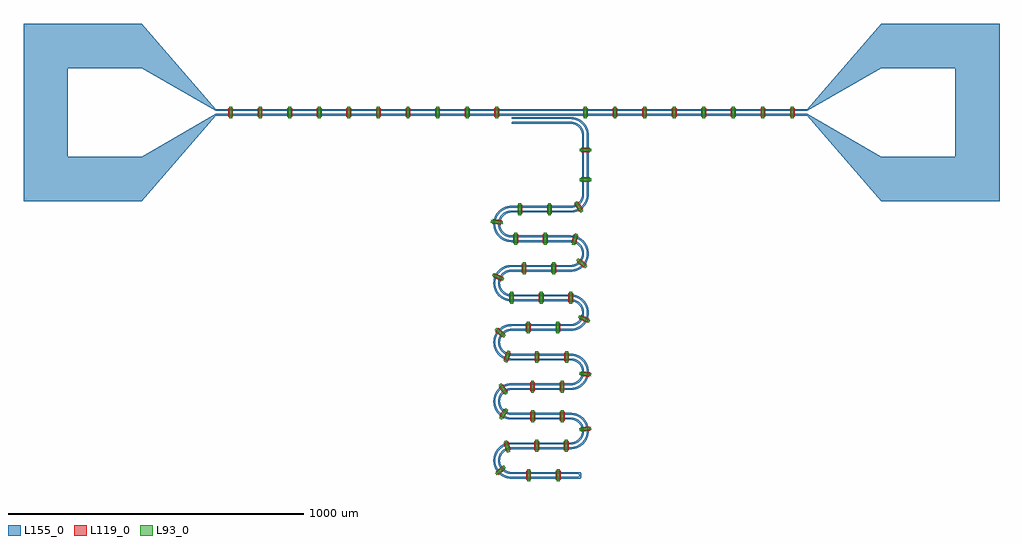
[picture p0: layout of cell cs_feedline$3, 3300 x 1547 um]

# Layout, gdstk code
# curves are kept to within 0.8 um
from math import pi, radians
import gdstk
lib = gdstk.Library(unit=1e-6, precision=1e-09)
def R(c, l, rs):  # rectangles x0, y0, x1, y1
    for r in rs: c.add(gdstk.rectangle(r[:2], r[2:], *l))
def P(c, l, *ps):  # polygons
    for p in ps: c.add(gdstk.Polygon(p, *l))
L93_0 = (93, 0)
L119_0 = (119, 0)
L155_0 = (155, 0)

bridge = lib.new_cell('bridge')
R(bridge, L93_0, [(-5,-20,5,20)])
R(bridge, L119_0, [(-8,-15,8,15)])

overlay_10 = lib.new_cell('overlay$10')
overlay_10.add(gdstk.Reference(bridge, (2450,0)))
overlay_10.add(gdstk.Reference(bridge, (2350,0)))
overlay_10.add(gdstk.Reference(bridge, (2250,0)))
overlay_10.add(gdstk.Reference(bridge, (2150,0)))
overlay_10.add(gdstk.Reference(bridge, (2050,0)))
overlay_10.add(gdstk.Reference(bridge, (1950,0)))
overlay_10.add(gdstk.Reference(bridge, (1850,0)))
overlay_10.add(gdstk.Reference(bridge, (1750,0)))

overlay_11 = lib.new_cell('overlay$11')
overlay_11.add(gdstk.Reference(bridge, (157.743,-1200)))
overlay_11.add(gdstk.Reference(bridge, (57.743,-1200)))
overlay_11.add(gdstk.Reference(bridge, (-37.403,-1183.182), rotation=radians(311.5776)))
overlay_11.add(gdstk.Reference(bridge, (-14.607,-1102.181), rotation=radians(196.986)))
overlay_11.add(gdstk.Reference(bridge, (85.177,-1100), rotation=pi))
overlay_11.add(gdstk.Reference(bridge, (185.177,-1100), rotation=pi))
overlay_11.add(gdstk.Reference(bridge, (249.56,-1043.382), rotation=radians(277.6055)))
overlay_11.add(gdstk.Reference(bridge, (171.903,-1000)))
overlay_11.add(gdstk.Reference(bridge, (71.903,-1000)))
overlay_11.add(gdstk.Reference(bridge, (-26.642,-992.311), rotation=radians(327.8029)))
overlay_11.add(gdstk.Reference(bridge, (-27.386,-908.167), rotation=radians(213.2114)))
overlay_11.add(gdstk.Reference(bridge, (71.018,-900), rotation=pi))
overlay_11.add(gdstk.Reference(bridge, (171.018,-900), rotation=pi))
overlay_11.add(gdstk.Reference(bridge, (249.435,-857.494), rotation=radians(261.3802)))
overlay_11.add(gdstk.Reference(bridge, (186.062,-800)))
overlay_11.add(gdstk.Reference(bridge, (86.062,-800)))
overlay_11.add(gdstk.Reference(bridge, (-13.758,-798.07), rotation=radians(344.0283)))
overlay_11.add(gdstk.Reference(bridge, (-37.984,-717.486), rotation=radians(229.4367)))
overlay_11.add(gdstk.Reference(bridge, (56.858,-700), rotation=pi))
overlay_11.add(gdstk.Reference(bridge, (156.858,-700), rotation=pi))
overlay_11.add(gdstk.Reference(bridge, (245.372,-671.008), rotation=radians(245.1549)))
overlay_11.add(gdstk.Reference(bridge, (200.221,-600), rotation=radians(359.7464)))
overlay_11.add(gdstk.Reference(bridge, (100.221,-600)))
overlay_11.add(gdstk.Reference(bridge, (0.221,-600)))
overlay_11.add(gdstk.Reference(bridge, (-45.557,-529.394), rotation=radians(245.662)))
overlay_11.add(gdstk.Reference(bridge, (42.699,-500), rotation=pi))
overlay_11.add(gdstk.Reference(bridge, (142.699,-500), rotation=pi))
overlay_11.add(gdstk.Reference(bridge, (237.695,-482.849), rotation=radians(228.9295)))
overlay_11.add(gdstk.Reference(bridge, (214.183,-402.054), rotation=radians(343.5211)))
overlay_11.add(gdstk.Reference(bridge, (114.381,-400)))
overlay_11.add(gdstk.Reference(bridge, (14.381,-400)))
overlay_11.add(gdstk.Reference(bridge, (-49.5,-342.944), rotation=radians(261.8873)))
overlay_11.add(gdstk.Reference(bridge, (28.54,-300), rotation=pi))
overlay_11.add(gdstk.Reference(bridge, (128.54,-300), rotation=pi))
overlay_11.add(gdstk.Reference(bridge, (227.015,-292.074), rotation=radians(212.7042)))
overlay_11.add(gdstk.Reference(bridge, (250,-200), rotation=3*pi/2))
overlay_11.add(gdstk.Reference(bridge, (250,-100), rotation=3*pi/2))

cs_resonator_2 = lib.new_cell('cs_resonator$2')
R(cs_resonator_2, L155_0, [(0,-1211,224.204,-1205), (0,-1195,224.204,-1189), (0,-1111,200,-1105), (0,-1095,200,-1089), (0,-1011,200,-1005), (0,-995,200,-989), (0,-911,200,-905), (0,-895,200,-889), (0,-811,200,-805), (0,-795,200,-789), (0,-711,200,-705), (0,-695,200,-689), (0,-611,200,-605), (0,-595,200,-589), (0,-511,200,-505), (0,-495,200,-489), (0,-411,200,-405), (0,-395,200,-389), (0,-311,200,-305), (0,-295,200,-289), (239,-250,245,-50), (255,-250,261,-50), (3,-11,200,-5), (3,5,200,11)])
P(cs_resonator_2, L155_0, [(0,8),(0.252,6.796),(0.856,5.902),(1.879,5.217),(3,5),(3,11),(1.796,10.748),(0.902,10.144),(0.217,9.121)],
  [(0,-8),(0.252,-9.204),(0.856,-10.098),(1.879,-10.783),(3,-11),(3,-5),(1.796,-5.252),(0.902,-5.856),(0.217,-6.879)],
  [(200,-11),(207.22,-11.674),(213.668,-13.473),(219.713,-16.349),(225.602,-20.58),(231.285,-26.714),(235.53,-33.919),(238.142,-41.863),(239,-50),(245,-50),(243.98,-40.473),(240.966,-31.377),(236.094,-23.126),(229.586,-16.094),(219.606,-9.495),(207.649,-5.655),(200,-5)],
  [(200,5),(210.547,3.979),(220.087,1.201),(228.972,-3.249),(236.91,-9.225),(244.439,-17.593),(250.376,-27.926),(253.815,-38.644),(255,-50),(261,-50),(259.709,-37.515),(255.889,-25.558),(249.295,-14.069),(240.897,-4.74),(228.323,4.026),(213.961,9.381),(200,11)],
  [(239,-250),(238.326,-257.22),(236.527,-263.668),(233.651,-269.713),(229.42,-275.602),(223.286,-281.285),(216.081,-285.53),(208.137,-288.142),(200,-289),(200,-295),(209.527,-293.98),(218.623,-290.966),(226.874,-286.094),(233.906,-279.586),(240.505,-269.606),(244.345,-257.649),(245,-250)],
  [(255,-250),(253.979,-260.547),(251.201,-270.087),(246.751,-278.972),(240.775,-286.91),(232.407,-294.439),(222.074,-300.376),(211.356,-303.815),(200,-305),(200,-311),(212.485,-309.709),(224.442,-305.889),(235.931,-299.295),(245.26,-290.897),(254.026,-278.323),(259.381,-263.961),(261,-250)],
  [(0,-289),(-11.801,-290.152),(-23.156,-293.566),(-34.216,-299.5),(-43.34,-307.073),(-50.825,-316.269),(-56.391,-326.738),(-59.825,-338.087),(-61,-349.886),(-59.87,-361.688),(-56.21,-373.695),(-50.564,-384.122),(-43.008,-393.259),(-33.827,-400.762),(-23.367,-406.347),(-12.025,-409.803),(0,-411),(0,-405),(-11.198,-403.848),(-22.533,-400.172),(-32.276,-394.534),(-40.667,-387.03),(-46.666,-379.109),(-51.382,-369.619),(-54.073,-360.055),(-55,-350.162),(-54.131,-340.263),(-51.496,-330.683),(-46.836,-321.166),(-40.884,-313.21),(-32.537,-305.656),(-22.222,-299.689),(-11.514,-296.219),(0,-295)],
  [(0,-305),(-8.94,-305.897),(-16.97,-308.322),(-24.911,-312.524),(-31.86,-318.221),(-37.539,-325.184),(-41.721,-333.136),(-44.126,-341.172),(-45,-350.114),(-44.197,-358.463),(-41.635,-367.075),(-37.412,-375.006),(-31.698,-381.941),(-25.22,-387.269),(-17.313,-391.536),(-8.716,-394.148),(0,-395),(0,-389),(-8.314,-388.103),(-16.246,-385.455),(-23.431,-381.177),(-29.539,-375.465),(-33.459,-370.038),(-36.59,-363.498),(-38.456,-356.491),(-39,-349.818),(-38.394,-343.151),(-36.463,-336.162),(-33.559,-330.13),(-29.301,-324.261),(-23.14,-318.607),(-15.915,-314.395),(-7.959,-311.821),(0,-311)],
  [(200,-411),(207.768,-411.781),(215.224,-414.094),(221.608,-417.533),(227.641,-422.487),(232.257,-428.079),(235.976,-434.943),(238.254,-442.41),(239,-450.182),(238.394,-456.849),(236.463,-463.838),(233.559,-469.87),(229.301,-475.739),(223.14,-481.393),(215.915,-485.605),(207.959,-488.179),(200,-489),(200,-495),(208.94,-494.103),(216.97,-491.678),(224.911,-487.476),(231.86,-481.779),(237.539,-474.816),(241.721,-466.864),(244.126,-458.828),(245,-449.886),(243.956,-440.361),(240.918,-431.273),(236.026,-423.035),(229.5,-416.019),(218.96,-409.189),(207.536,-405.636),(200,-405)],
  [(200,-395),(210.547,-396.021),(220.703,-399.045),(230.091,-403.961),(238.834,-411.052),(245.95,-419.774),(250.894,-429.147),(253.948,-439.294),(255,-449.838),(254.131,-459.737),(251.496,-469.317),(246.836,-478.834),(240.884,-486.79),(232.537,-494.344),(222.222,-500.311),(211.514,-503.781),(200,-505),(200,-511),(211.801,-509.848),(223.156,-506.434),(234.216,-500.5),(243.34,-492.927),(250.825,-483.731),(256.391,-473.262),(259.825,-461.913),(261,-450.114),(259.732,-437.627),(255.935,-425.663),(249.769,-414.729),(240.982,-404.817),(228.424,-396.027),(214.072,-390.645),(200,-389)],
  [(0,-489),(-11.801,-490.152),(-23.156,-493.566),(-34.216,-499.5),(-43.34,-507.073),(-50.825,-516.269),(-56.391,-526.738),(-59.825,-538.087),(-61,-549.886),(-59.87,-561.688),(-56.21,-573.695),(-50.564,-584.122),(-43.008,-593.259),(-33.827,-600.762),(-23.367,-606.347),(-12.025,-609.803),(0,-611),(0,-605),(-11.198,-603.848),(-22.533,-600.172),(-32.276,-594.534),(-40.667,-587.03),(-46.666,-579.109),(-51.382,-569.619),(-54.073,-560.055),(-55,-550.162),(-54.131,-540.263),(-51.496,-530.683),(-46.836,-521.166),(-40.884,-513.21),(-32.537,-505.656),(-22.222,-499.689),(-11.514,-496.219),(0,-495)],
  [(0,-505),(-8.94,-505.897),(-16.97,-508.322),(-24.911,-512.524),(-31.86,-518.221),(-37.539,-525.184),(-41.721,-533.136),(-44.126,-541.172),(-45,-550.114),(-44.197,-558.463),(-41.635,-567.075),(-37.412,-575.006),(-31.698,-581.941),(-25.22,-587.269),(-17.313,-591.536),(-8.716,-594.148),(0,-595),(0,-589),(-8.314,-588.103),(-16.246,-585.455),(-23.431,-581.177),(-29.539,-575.465),(-33.459,-570.038),(-36.59,-563.498),(-38.456,-556.491),(-39,-549.818),(-38.394,-543.151),(-36.463,-536.162),(-33.559,-530.13),(-29.301,-524.261),(-23.14,-518.607),(-15.915,-514.395),(-7.959,-511.821),(0,-511)],
  [(200,-611),(207.768,-611.781),(215.224,-614.094),(221.608,-617.533),(227.641,-622.487),(232.257,-628.079),(235.976,-634.943),(238.254,-642.41),(239,-650.182),(238.394,-656.849),(236.463,-663.838),(233.559,-669.87),(229.301,-675.739),(223.14,-681.393),(215.915,-685.605),(207.959,-688.179),(200,-689),(200,-695),(208.94,-694.103),(216.97,-691.678),(224.911,-687.476),(231.86,-681.779),(237.539,-674.816),(241.721,-666.864),(244.126,-658.828),(245,-649.886),(243.956,-640.361),(240.918,-631.273),(236.026,-623.035),(229.5,-616.019),(218.96,-609.189),(207.536,-605.636),(200,-605)],
  [(200,-595),(210.547,-596.021),(220.703,-599.045),(230.091,-603.961),(238.834,-611.052),(245.95,-619.774),(250.894,-629.147),(253.948,-639.294),(255,-649.838),(254.131,-659.737),(251.496,-669.317),(246.836,-678.834),(240.884,-686.79),(232.537,-694.344),(222.222,-700.311),(211.514,-703.781),(200,-705),(200,-711),(211.801,-709.848),(223.156,-706.434),(234.216,-700.5),(243.34,-692.927),(250.825,-683.731),(256.391,-673.262),(259.825,-661.913),(261,-650.114),(259.732,-637.627),(255.935,-625.663),(249.769,-614.729),(240.982,-604.817),(228.424,-596.027),(214.072,-590.645),(200,-589)],
  [(0,-689),(-11.801,-690.152),(-23.156,-693.566),(-34.216,-699.5),(-43.34,-707.073),(-50.825,-716.269),(-56.391,-726.738),(-59.825,-738.087),(-61,-749.886),(-59.87,-761.688),(-56.21,-773.695),(-50.564,-784.122),(-43.008,-793.259),(-33.827,-800.762),(-23.367,-806.347),(-12.025,-809.803),(0,-811),(0,-805),(-11.198,-803.848),(-22.533,-800.172),(-32.276,-794.534),(-40.667,-787.03),(-46.666,-779.109),(-51.382,-769.619),(-54.073,-760.055),(-55,-750.162),(-54.131,-740.263),(-51.496,-730.683),(-46.836,-721.166),(-40.884,-713.21),(-32.537,-705.656),(-22.222,-699.689),(-11.514,-696.219),(0,-695)],
  [(0,-705),(-8.94,-705.897),(-16.97,-708.322),(-24.911,-712.524),(-31.86,-718.221),(-37.539,-725.184),(-41.721,-733.136),(-44.126,-741.172),(-45,-750.114),(-44.197,-758.463),(-41.635,-767.075),(-37.412,-775.006),(-31.698,-781.941),(-25.22,-787.269),(-17.313,-791.536),(-8.716,-794.148),(0,-795),(0,-789),(-8.314,-788.103),(-16.246,-785.455),(-23.431,-781.177),(-29.539,-775.465),(-33.459,-770.038),(-36.59,-763.498),(-38.456,-756.491),(-39,-749.818),(-38.394,-743.151),(-36.463,-736.162),(-33.559,-730.13),(-29.301,-724.261),(-23.14,-718.607),(-15.915,-714.395),(-7.959,-711.821),(0,-711)],
  [(200,-811),(207.768,-811.781),(215.224,-814.094),(221.608,-817.533),(227.641,-822.487),(232.257,-828.079),(235.976,-834.943),(238.254,-842.41),(239,-850.182),(238.394,-856.849),(236.463,-863.838),(233.559,-869.87),(229.301,-875.739),(223.14,-881.393),(215.915,-885.605),(207.959,-888.179),(200,-889),(200,-895),(208.94,-894.103),(216.97,-891.678),(224.911,-887.476),(231.86,-881.779),(237.539,-874.816),(241.721,-866.864),(244.126,-858.828),(245,-849.886),(243.956,-840.361),(240.918,-831.273),(236.026,-823.035),(229.5,-816.019),(218.96,-809.189),(207.536,-805.636),(200,-805)],
  [(200,-795),(210.547,-796.021),(220.703,-799.045),(230.091,-803.961),(238.834,-811.052),(245.95,-819.774),(250.894,-829.147),(253.948,-839.294),(255,-849.838),(254.131,-859.737),(251.496,-869.317),(246.836,-878.834),(240.884,-886.79),(232.537,-894.344),(222.222,-900.311),(211.514,-903.781),(200,-905),(200,-911),(211.801,-909.848),(223.156,-906.434),(234.216,-900.5),(243.34,-892.927),(250.825,-883.731),(256.391,-873.262),(259.825,-861.913),(261,-850.114),(259.732,-837.627),(255.935,-825.663),(249.769,-814.729),(240.982,-804.817),(228.424,-796.027),(214.072,-790.645),(200,-789)],
  [(0,-889),(-11.801,-890.152),(-23.156,-893.566),(-34.216,-899.5),(-43.34,-907.073),(-50.825,-916.269),(-56.391,-926.738),(-59.825,-938.087),(-61,-949.886),(-59.87,-961.688),(-56.21,-973.695),(-50.564,-984.122),(-43.008,-993.259),(-33.827,-1000.762),(-23.367,-1006.347),(-12.025,-1009.803),(0,-1011),(0,-1005),(-11.198,-1003.848),(-22.533,-1000.172),(-32.276,-994.534),(-40.667,-987.03),(-46.666,-979.109),(-51.382,-969.619),(-54.073,-960.055),(-55,-950.162),(-54.131,-940.263),(-51.496,-930.683),(-46.836,-921.166),(-40.884,-913.21),(-32.537,-905.656),(-22.222,-899.689),(-11.514,-896.219),(0,-895)],
  [(0,-905),(-8.94,-905.897),(-16.97,-908.322),(-24.911,-912.524),(-31.86,-918.221),(-37.539,-925.184),(-41.721,-933.136),(-44.126,-941.172),(-45,-950.114),(-44.197,-958.463),(-41.635,-967.075),(-37.412,-975.006),(-31.698,-981.941),(-25.22,-987.269),(-17.313,-991.536),(-8.716,-994.148),(0,-995),(0,-989),(-8.314,-988.103),(-16.246,-985.455),(-23.431,-981.177),(-29.539,-975.465),(-33.459,-970.038),(-36.59,-963.498),(-38.456,-956.491),(-39,-949.818),(-38.394,-943.151),(-36.463,-936.162),(-33.559,-930.13),(-29.301,-924.261),(-23.14,-918.607),(-15.915,-914.395),(-7.959,-911.821),(0,-911)],
  [(200,-1011),(207.768,-1011.781),(215.224,-1014.094),(221.608,-1017.533),(227.641,-1022.487),(232.257,-1028.079),(235.976,-1034.943),(238.254,-1042.41),(239,-1050.182),(238.394,-1056.849),(236.463,-1063.838),(233.559,-1069.87),(229.301,-1075.739),(223.14,-1081.393),(215.915,-1085.605),(207.959,-1088.179),(200,-1089),(200,-1095),(208.94,-1094.103),(216.97,-1091.678),(224.911,-1087.476),(231.86,-1081.779),(237.539,-1074.816),(241.721,-1066.864),(244.126,-1058.828),(245,-1049.886),(243.956,-1040.361),(240.918,-1031.273),(236.026,-1023.035),(229.5,-1016.019),(218.96,-1009.189),(207.536,-1005.636),(200,-1005)],
  [(200,-995),(210.547,-996.021),(220.703,-999.045),(230.091,-1003.961),(238.834,-1011.052),(245.95,-1019.774),(250.894,-1029.147),(253.948,-1039.294),(255,-1049.838),(254.131,-1059.737),(251.496,-1069.317),(246.836,-1078.834),(240.884,-1086.79),(232.537,-1094.344),(222.222,-1100.311),(211.514,-1103.781),(200,-1105),(200,-1111),(211.801,-1109.848),(223.156,-1106.434),(234.216,-1100.5),(243.34,-1092.927),(250.825,-1083.731),(256.391,-1073.262),(259.825,-1061.913),(261,-1050.114),(259.732,-1037.627),(255.935,-1025.663),(249.769,-1014.729),(240.982,-1004.817),(228.424,-996.027),(214.072,-990.645),(200,-989)],
  [(0,-1089),(-11.801,-1090.152),(-23.156,-1093.566),(-34.216,-1099.5),(-43.34,-1107.073),(-50.825,-1116.269),(-56.391,-1126.738),(-59.825,-1138.087),(-61,-1149.886),(-59.87,-1161.688),(-56.21,-1173.695),(-50.564,-1184.122),(-43.008,-1193.259),(-33.827,-1200.762),(-23.367,-1206.347),(-12.025,-1209.803),(0,-1211),(0,-1205),(-11.198,-1203.848),(-22.533,-1200.172),(-32.276,-1194.534),(-40.667,-1187.03),(-46.666,-1179.109),(-51.382,-1169.619),(-54.073,-1160.055),(-55,-1150.162),(-54.131,-1140.263),(-51.496,-1130.683),(-46.836,-1121.166),(-40.884,-1113.21),(-32.537,-1105.656),(-22.222,-1099.689),(-11.514,-1096.219),(0,-1095)],
  [(0,-1105),(-8.94,-1105.897),(-16.97,-1108.322),(-24.911,-1112.524),(-31.86,-1118.221),(-37.539,-1125.184),(-41.721,-1133.136),(-44.126,-1141.172),(-45,-1150.114),(-44.197,-1158.463),(-41.635,-1167.075),(-37.412,-1175.006),(-31.698,-1181.941),(-25.22,-1187.269),(-17.313,-1191.536),(-8.716,-1194.148),(0,-1195),(0,-1189),(-8.314,-1188.103),(-16.246,-1185.455),(-23.431,-1181.177),(-29.539,-1175.465),(-33.459,-1170.038),(-36.59,-1163.498),(-38.456,-1156.491),(-39,-1149.818),(-38.394,-1143.151),(-36.463,-1136.162),(-33.559,-1130.13),(-29.301,-1124.261),(-23.14,-1118.607),(-15.915,-1114.395),(-7.959,-1111.821),(0,-1111)],
  [(224.204,-1189),(224.204,-1195),(227.79,-1196.516),(229.204,-1200),(227.687,-1203.587),(224.204,-1205),(224.204,-1211),(231.777,-1210.746),(234.057,-1209.186),(235.131,-1206.85),(234.95,-1192.427),(231.637,-1189.21)])
cs_resonator_2.add(gdstk.Reference(overlay_11, (0,0)))

overlay_9 = lib.new_cell('overlay$9')
overlay_9.add(gdstk.Reference(bridge, (1450,0)))
overlay_9.add(gdstk.Reference(bridge, (1350,0)))
overlay_9.add(gdstk.Reference(bridge, (1250,0)))
overlay_9.add(gdstk.Reference(bridge, (1150,0)))
overlay_9.add(gdstk.Reference(bridge, (1050,0)))
overlay_9.add(gdstk.Reference(bridge, (950,0)))
overlay_9.add(gdstk.Reference(bridge, (850,0)))
overlay_9.add(gdstk.Reference(bridge, (750,0)))
overlay_9.add(gdstk.Reference(bridge, (650,0)))
overlay_9.add(gdstk.Reference(bridge, (550,0)))

cs_feedline_3 = lib.new_cell('cs_feedline$3')
R(cs_feedline_3, L155_0, [(0,-300,250,-150), (2750,-300,3000,-150), (500,-11,1500,-5), (1500,-11,1700,-5), (1700,-11,2500,-5), (500,5,1500,11), (1500,5,1700,11), (1700,5,2500,11), (0,150,250,300), (2750,150,3000,300)])
P(cs_feedline_3, L155_0, [(0,-300),(0,-150),(0,150),(0,300),(-150,300),(-150,-300)],
  [(250,150),(500,5),(500,11),(250,300)],
  [(250,-300),(500,-11),(500,-5),(250,-150)],
  [(2500,5),(2750,150),(2750,300),(2500,11)],
  [(2500,-11),(2750,-300),(2750,-150),(2500,-5)],
  [(3000,300),(3000,150),(3000,-150),(3000,-300),(3150,-300),(3150,300)])
cs_feedline_3.add(gdstk.Reference(overlay_10, (0,0)))
cs_feedline_3.add(gdstk.Reference(cs_resonator_2, (1500,-27)))
cs_feedline_3.add(gdstk.Reference(overlay_9, (0,0)))

lib.write_gds('cs_feedline_3.gds')
